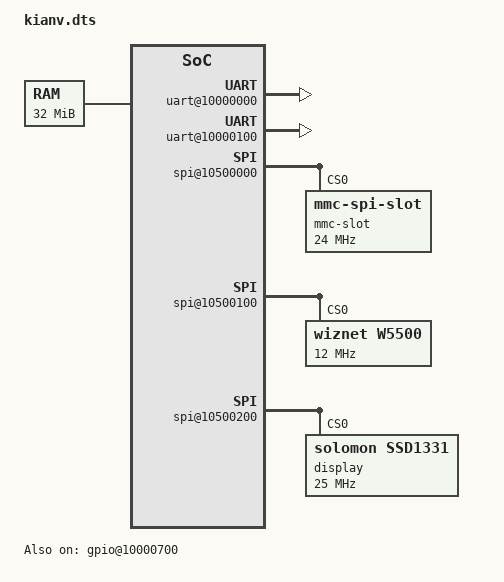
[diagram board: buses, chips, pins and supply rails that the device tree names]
/dts-v1/;

/ {
	#address-cells = <0x01>;
	#size-cells = <0x01>;

	chosen {
		bootargs = "earlycon=sbi debug console=ttyS0 memtest=0 root=/dev/mmcblk0p2 rootwait rootfstype=ext2 debug";
	};

	memory@80000000 {
		device_type = "memory";
		reg = <0x80000000 0x2000000>;
	};

	cpus {
		#address-cells = <0x01>;
		#size-cells = <0x00>;
		timebase-frequency = <0xf4240>;

		cpu@0 {
			phandle = <0x01>;
			device_type = "cpu";
			reg = <0x00>;
			status = "okay";
			compatible = "kianv\0riscv";
			riscv,isa = "rv32ima";
      riscv,isa-base = "rv32i";
      riscv,isa-extensions = "i", "m", "a", "sstc", "zicntr", "zicsr", "zifencei";
      mmu-type = "riscv,sv32";
			uarch = "KianV,sv32";

			interrupt-controller {
				#interrupt-cells = <0x01>;
				interrupt-controller;
				compatible = "riscv,cpu-intc";
				phandle = <0x02>;
			};
		};

		cpu-map {

			cluster0 {

				core0 {
					cpu = <0x01>;
				};
			};
		};
	};

	soc {
		#address-cells = <0x01>;
		#size-cells = <0x01>;
		compatible = "simple-bus";
		ranges;

		uart@10000000 {
			device_type = "serial";
			clock-frequency = <0x1000000>;
			reg = <0x10000000 0x100>;
			compatible = "ns16850";
			status = "okay";
		};

		uart@10000100 {
			device_type = "serial";
			clock-frequency = <0x1000000>;
			reg = <0x10000100 0x100>;
			compatible = "ns16850";
			status = "okay";
		};

		poweroff {
			value = <0x5555>;
			offset = <0x00>;
			regmap = <0x04>;
			compatible = "syscon-poweroff";
		};

		reboot {
			value = <0x7777>;
			offset = <0x00>;
			regmap = <0x04>;
			compatible = "syscon-reboot";
		};

		syscon@11100000 {
			phandle = <0x04>;
			reg = <0x11100000 0x1000>;
			compatible = "syscon";
		};

		clint@2000000 {
			interrupts-extended = <0x02 0x03 0x02 0x07>;
			reg = <0x2000000 0x10000>;
			compatible = "sifive,clint0\0riscv,clint0";
		};

		gpio@10000700 {
			compatible = "kianV,kianv-gpio";
			reg = <0x10000700 0x1000>;
			gpio-controller;
			#gpio-cells = <0x02>;
			status = "okay";
		};

		spi@10500000 {
			compatible = "kianVfpga,kianVspi-simple";
			reg = <0x10500000 0x100>;
			status = "okay";
			kianVfpga,num-cs = <0x01>;
			kianVfpga,sck-frequency = <0x00>;
			spi-cpha = <0x00>;
			spi-cpol = <0x00>;
			#address-cells = <0x01>;
			#size-cells = <0x00>;

			mmc-slot@0 {
				compatible = "mmc-spi-slot";
				spi-max-frequency = <0x16e3600>;
				voltage-ranges = <0xc80 0xd48>;
				reg = <0x00>;
				status = "okay";
				disable-wp;
				non-removable;
				no-sdio;
				no-mmc;
			};
		};
	};

	spi@10500100 {
		compatible = "kianVfpga,kianVspi-simple2";
		reg = <0x10500100 0x100>;
		status = "okay";
		kianVfpga,num-cs = <0x01>;
		kianVfpga,sck-frequency = <0x00>;
		spi-cpha = <0x00>;
		spi-cpol = <0x00>;
		#address-cells = <0x01>;
		#size-cells = <0x00>;

		encx24j600@0 {
			compatible = "microchip,encx24j600";
			#address-cells = <0x01>;
			#size-cells = <0x01>;
			reg = <0x00>;
			spi-max-frequency = <0xb71b00>;
			status = "disabled";
		};

		enc28j60@0 {
			compatible = "microchip,enc28j60";
			#address-cells = <0x01>;
			#size-cells = <0x01>;
			reg = <0x00>;
			spi-max-frequency = <0xb71b00>;
			status = "disabled";
		};

		w5500@0 {
			compatible = "wiznet,w5500";
			#address-cells = <0x01>;
			#size-cells = <0x01>;
			reg = <0x00>;
			spi-max-frequency = <0xb71b00>;
			status = "okay";
		};
	};

	spi@10500200 {
		compatible = "kianVfpga,kianVspi-simple3";
		reg = <0x10500200 0x100>;
		status = "okay";
		kianVfpga,num-cs = <0x01>;
		kianVfpga,sck-frequency = <0x00>;
		spi-cpha = <0x00>;
		spi-cpol = <0x00>;
		#address-cells = <0x01>;
		#size-cells = <0x00>;

		display@0 {
			fps = <0x19>;
			compatible = "solomon,ssd1331";
			spi-max-frequency = <0x17d7840>;
			reg = <0x00>;
			regwidth = <0x08>;
			buswidth = <0x08>;
			status = "okay";
		};
	};
};
